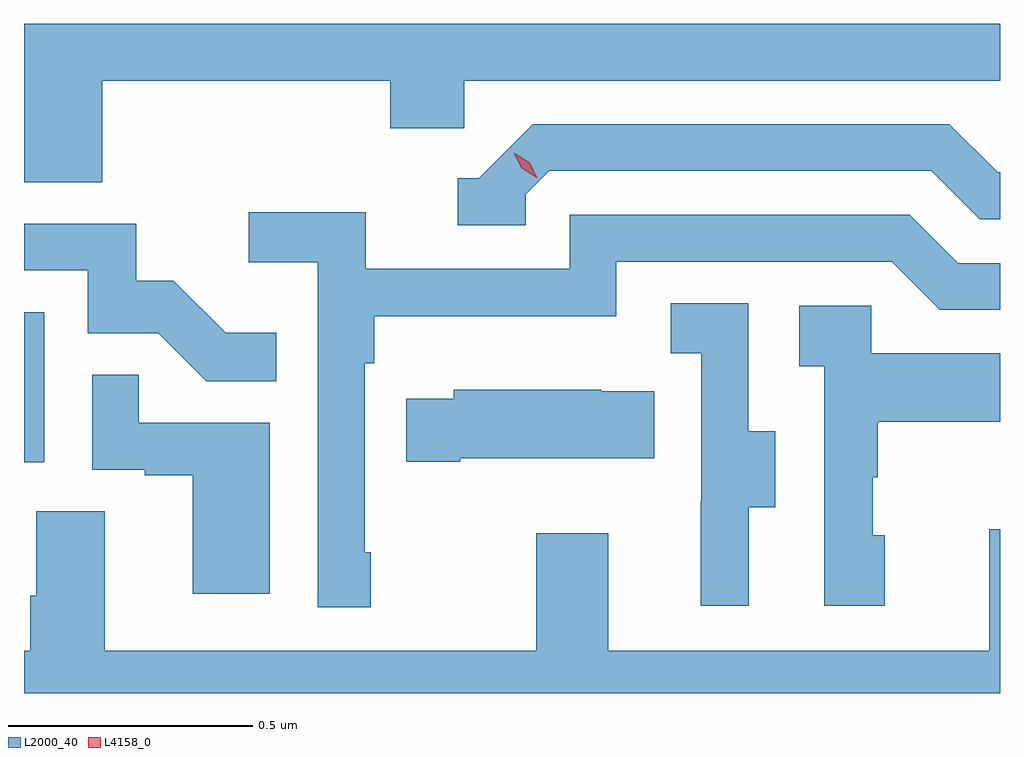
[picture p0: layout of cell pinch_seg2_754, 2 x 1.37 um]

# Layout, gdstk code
import gdstk
lib = gdstk.Library(unit=1e-6, precision=1e-09)
def R(c, l, rs):  # rectangles x0, y0, x1, y1
    for r in rs: c.add(gdstk.rectangle(r[:2], r[2:], *l))
def P(c, l, *ps):  # polygons
    for p in ps: c.add(gdstk.Polygon(p, *l))
L2000_40 = (2000, 40)
L4158_0 = (4158, 0)

pinch_seg2_754 = lib.new_cell('pinch_seg2_754')
R(pinch_seg2_754, L2000_40, [(885.388,665.502,885.43,665.809)])
P(pinch_seg2_754, L2000_40, [(885.548,666.284),(886.139,666.284),(886.139,666.186),(886.29,666.186),(886.29,666.284),(887.388,666.284),(887.388,666.4),(885.388,666.4),(885.388,666.076),(885.548,666.076)],
  [(886.416,666.051),(886.464,666.099),(887.247,666.099),(887.346,666),(887.388,666),(887.388,666.096),(887.383,666.096),(887.284,666.195),(886.431,666.195),(886.32,666.084),(886.277,666.084),(886.277,665.988),(886.416,665.988)],
  [(886.099,665.317),(886.086,665.317),(886.086,665.705),(886.106,665.705),(886.106,665.801),(886.602,665.801),(886.602,665.913),(887.166,665.913),(887.265,665.814),(887.388,665.814),(887.388,665.91),(887.302,665.91),(887.203,666.009),(886.506,666.009),(886.506,665.898),(886.088,665.898),(886.088,666.014),(885.849,666.014),(885.849,665.912),(885.99,665.912),(885.99,665.205),(886.099,665.205)],
  [(885.905,665.767),(885.801,665.767),(885.694,665.874),(885.618,665.874),(885.618,665.991),(885.388,665.991),(885.388,665.895),(885.519,665.895),(885.519,665.766),(885.663,665.766),(885.761,665.668),(885.905,665.668)],
  [(886.873,665.41),(886.927,665.41),(886.927,665.565),(886.872,665.565),(886.872,665.828),(886.713,665.828),(886.713,665.725),(886.776,665.725),(886.776,665.421),(886.775,665.421),(886.775,665.208),(886.873,665.208)],
  [(887.152,665.352),(887.127,665.352),(887.127,665.471),(887.137,665.471),(887.137,665.585),(887.388,665.585),(887.388,665.725),(887.124,665.725),(887.124,665.823),(886.977,665.823),(886.977,665.699),(887.028,665.699),(887.028,665.208),(887.152,665.208)],
  [(885.892,665.583),(885.623,665.583),(885.623,665.681),(885.528,665.681),(885.528,665.487),(885.635,665.487),(885.635,665.475),(885.734,665.475),(885.734,665.232),(885.892,665.232)],
  [(886.282,665.51),(886.679,665.51),(886.679,665.647),(886.571,665.647),(886.571,665.65),(886.269,665.65),(886.269,665.632),(886.171,665.632),(886.171,665.503),(886.282,665.503)],
  [(887.388,665.365),(887.366,665.365),(887.366,665.116),(886.585,665.116),(886.585,665.356),(886.438,665.356),(886.438,665.116),(885.553,665.116),(885.553,665.402),(885.413,665.402),(885.413,665.228),(885.401,665.228),(885.401,665.116),(885.388,665.116),(885.388,665.029),(887.388,665.029)])
P(pinch_seg2_754, L4158_0, [(886.439,666.085),(886.408,666.104),(886.392,666.136),(886.392,666.136),(886.392,666.136),(886.423,666.117),(886.44,666.085),(886.44,666.085)])

lib.write_gds('pinch_seg2_754.gds')
